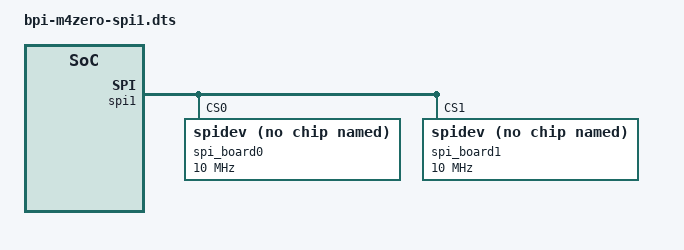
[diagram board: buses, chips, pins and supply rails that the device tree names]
/dts-v1/;
/plugin/;

/ {
	fragment@0 {
		target = <&spi1>;
		__overlay__ {
			status = "okay";

			spi1_cs_number = <0x2>;
			spi1_cs_bitmap = <0x3>;

			spi_board0@0 {
				device_type = "spi_board0";
				compatible = "linux,spidev";
				spi-max-frequency = <10000000>;
				reg = <0x0>;
				status = "okay";
			};

			spi_board1@1 {
				device_type = "spi_board1";
				compatible = "linux,spidev";
				spi-max-frequency = <10000000>;
				reg = <0x1>;
				status = "okay";
			};
		};
	};
};
